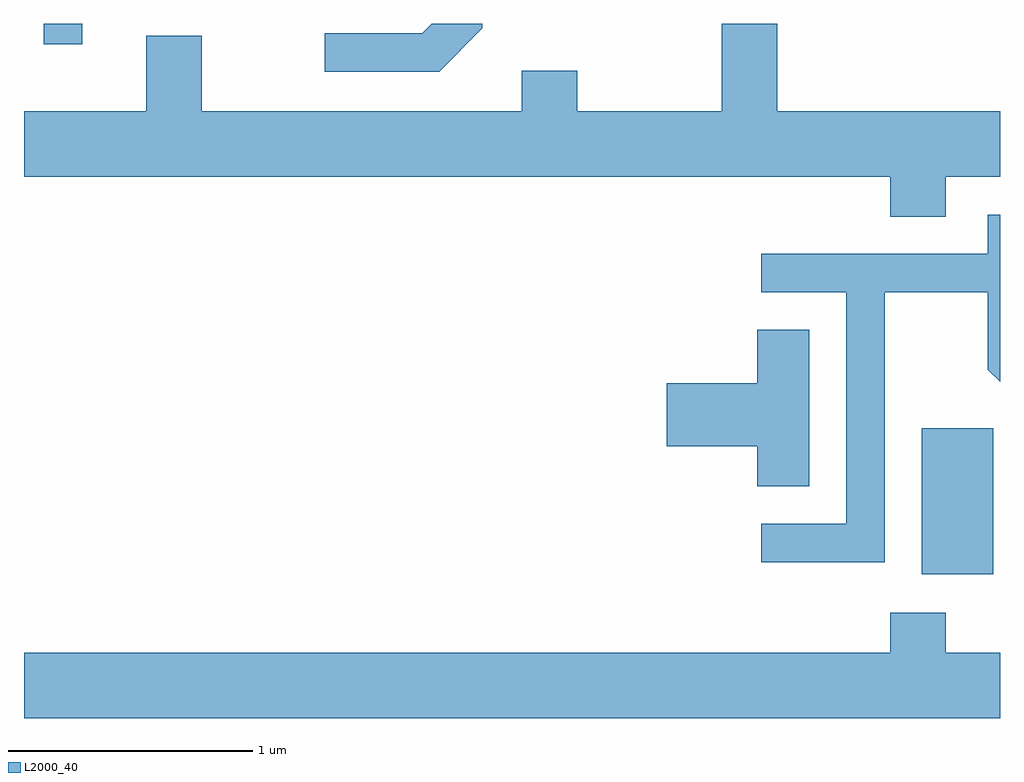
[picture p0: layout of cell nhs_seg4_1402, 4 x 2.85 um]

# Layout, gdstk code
import gdstk
lib = gdstk.Library(unit=1e-6, precision=1e-09)
def R(c, l, rs):  # rectangles x0, y0, x1, y1
    for r in rs: c.add(gdstk.rectangle(r[:2], r[2:], *l))
def P(c, l, *ps):  # polygons
    for p in ps: c.add(gdstk.Polygon(p, *l))
L2000_40 = (2000, 40)

nhs_seg4_1402 = lib.new_cell('nhs_seg4_1402')
R(nhs_seg4_1402, L2000_40, [(229.291,1339.726,229.584,1340.324), (225.691,1341.898,225.849,1341.982)])
P(nhs_seg4_1402, L2000_40, [(227.489,1341.964),(227.489,1341.982),(227.282,1341.982),(227.244,1341.944),(226.843,1341.944),(226.843,1341.786),(227.312,1341.786)],
  [(228.699,1341.982),(228.471,1341.982),(228.471,1341.624),(227.879,1341.624),(227.879,1341.789),(227.651,1341.789),(227.651,1341.624),(226.339,1341.624),(226.339,1341.934),(226.111,1341.934),(226.111,1341.624),(225.611,1341.624),(225.611,1341.356),(229.161,1341.356),(229.161,1341.191),(229.389,1341.191),(229.389,1341.356),(229.611,1341.356),(229.611,1341.624),(228.699,1341.624)],
  [(229.139,1340.881),(229.561,1340.881),(229.561,1340.564),(229.611,1340.514),(229.611,1341.199),(229.561,1341.199),(229.561,1341.039),(228.633,1341.039),(228.633,1340.881),(228.981,1340.881),(228.981,1339.934),(228.633,1339.934),(228.633,1339.776),(229.139,1339.776)],
  [(228.829,1340.729),(228.616,1340.729),(228.616,1340.509),(228.246,1340.509),(228.246,1340.251),(228.616,1340.251),(228.616,1340.086),(228.829,1340.086)],
  [(229.611,1339.404),(229.389,1339.404),(229.389,1339.569),(229.161,1339.569),(229.161,1339.404),(225.611,1339.404),(225.611,1339.136),(229.611,1339.136)])

lib.write_gds('nhs_seg4_1402.gds')
